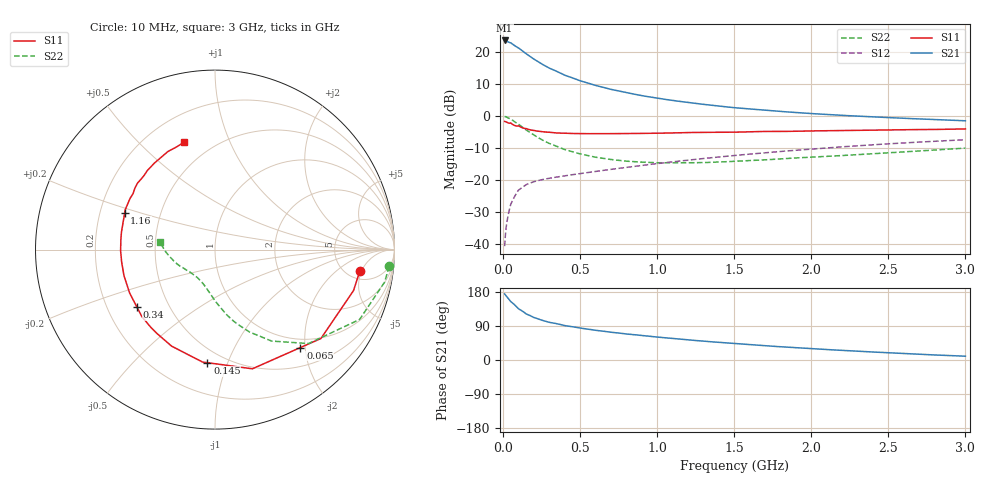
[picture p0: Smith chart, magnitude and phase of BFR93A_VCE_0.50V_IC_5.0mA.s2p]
! Infineon Technologies  Discrete & RF Semiconductors
! BFR93A
! VCE = 0.50 V,  IC =  5.0 mA
! Common Emitter S-Parameters:  Nov 2015
# GHz  S  MA  R  50
!  f  S11  S21  S12  S22
! GHz  MAG  ANG  MAG  ANG  MAG  ANG  MAG  ANG
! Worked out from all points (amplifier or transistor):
!   180 points, 10 MHz to 3 GHz, reference 50 ohm
!   highest |S21| = 23.6 dB at 10 MHz (marker M1)
!   |S21| within 3 dB of that: start of sweep to 118 MHz
!   unconditionally stable (mu >= 1): 658.9 MHz to end of sweep
!   at 160 MHz: K = 0.36, MSG = 20.2 dB, |S12| = -21.4 dB
!   at 1.22 GHz: K = 1.17, MAG = 6.4 dB, |S12| = -13.8 dB
!   at 3 GHz: K = 1.07, MAG = 1.4 dB, |S12| = -7.5 dB
!   S11 on the Smith chart (normalised r, x): 10 MHz: 6.50, -4.64; 65 MHz: 0.83, -1.91; 145 MHz: 0.41, -0.85; 340 MHz: 0.33, -0.30; 1.16 GHz: 0.31, +0.18; 3 GHz: 0.35, +0.69
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0.01  0.8159 -8.4  15.1 174.4  0.0091 85.7  0.9747 -5.5
0.02  0.8048 -16.5  14.89 168.9  0.0179 80.7  0.9625 -10.8
0.05  0.7705 -40.0  13.86 154.1  0.0412 69.6  0.8948 -25.8
0.065  0.724 -48.9  13.03 149.2  0.0491 63.7  0.8387 -30.8
0.1  0.696 -72.6  11.55 135.2  0.0686 55.5  0.7387 -45.1
0.145  0.6316 -93.8  9.54 123.2  0.082 47.9  0.6119 -56.6
0.15  0.6303 -96.3  9.349 121.6  0.0836 47.2  0.5997 -58.2
0.2  0.5898 -114.2  7.711 112.1  0.093 42.9  0.4978 -67.3
0.24  0.5681 -124.8  6.717 106.6  0.0984 41.0  0.4374 -72.8
0.3  0.5524 -137.6  5.574 99.4  0.1052 39.7  0.369 -79.8
0.34  0.5402 -143.6  5.059 96.5  0.1091 39.7  0.339 -82.8
0.4  0.5336 -153.0  4.319 90.8  0.115 39.8  0.2961 -88.5
0.52  0.5261 -165.7  3.42 83.1  0.1263 40.9  0.247 -96.2
0.6  0.5247 -172.6  2.987 78.4  0.1344 41.9  0.2247 -101.3
0.7  0.526 -179.4  2.592 73.3  0.145 43.0  0.2069 -106.8
0.9  0.5302 169.4  2.064 64.7  0.1667 44.8  0.1882 -117.4
1.02  0.5341 163.7  1.854 59.8  0.1809 45.3  0.1839 -122.7
1.16  0.5433 157.9  1.664 54.7  0.1975 45.6  0.1835 -129.2
1.52  0.5548 145.0  1.326 42.8  0.2415 45.0  0.1947 -143.7
2.02  0.5803 130.1  1.076 29.5  0.3037 42.0  0.2263 -159.5
2.52  0.6011 117.6  0.932 18.7  0.3665 36.7  0.2652 -174.4
3  0.6224 106.0  0.835 10.0  0.4222 30.5  0.3119 171.7
